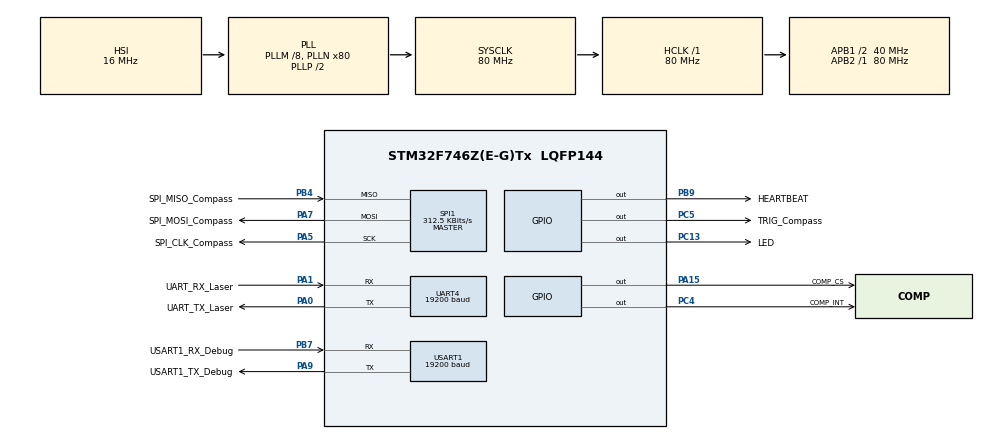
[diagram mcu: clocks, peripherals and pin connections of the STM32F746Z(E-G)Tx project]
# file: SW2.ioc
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FREERTOS.Tasks01=defaultTask,0,128,StartDefaultTask,Default
Mcu.Family=STM32F7
Mcu.Name=STM32F746Z(E-G)Tx
Mcu.Package=LQFP144
NVIC.PriorityGroup=NVIC_PRIORITYGROUP_4
NVIC.TIM1_UP_TIM10_IRQn=true\:0\:0\:false\:false\:true
NVIC.TimeBase=TIM1_UP_TIM10_IRQn
NVIC.TimeBaseIP=TIM1
PA0/WKUP.GPIO_Label=UART_TX_Laser
PA0/WKUP.Mode=Asynchronous
PA0/WKUP.Signal=UART4_TX
PA1.GPIO_Label=UART_RX_Laser
PA1.Mode=Asynchronous
PA1.Signal=UART4_RX
PA13.Mode=Trace-Asynchronous_SW
PA13.Signal=SYS_JTMS-SWDIO
PA14.Mode=Trace-Asynchronous_SW
PA14.Signal=SYS_JTCK-SWCLK
PA15.GPIO_Label=COMP_CS
PA15.Signal=GPIO_Output
PA5.GPIO_Label=SPI_CLK_Compass
PA5.Mode=Full_Duplex_Master
PA5.Signal=SPI1_SCK
PA7.GPIO_Label=SPI_MOSI_Compass
PA7.Mode=Full_Duplex_Master
PA7.Signal=SPI1_MOSI
PA9.GPIO_Label=USART1_TX_Debug
PA9.Mode=Asynchronous
PA9.Signal=USART1_TX
PB3.Mode=Trace-Asynchronous_SW
PB3.Signal=SYS_JTDO-SWO
PB4.GPIO_Label=SPI_MISO_Compass
PB4.Mode=Full_Duplex_Master
PB4.Signal=SPI1_MISO
PB7.GPIO_Label=USART1_RX_Debug
PB7.Mode=Asynchronous
PB7.Signal=USART1_RX
PB9.GPIO_Label=HEARTBEAT
PB9.Signal=GPIO_Output
PC13.GPIO_Label=LED
PC13.Signal=GPIO_Output
PC4.GPIO_Label=COMP_INT
PC4.Signal=GPIO_Output
PC5.GPIO_Label=TRIG_Compass
PC5.Signal=GPIO_Output
ProjectManager.HeapSize=0x200
ProjectManager.StackSize=0x400
ProjectManager.TargetToolchain=EWARM
RCC.AHBFreq_Value=80000000
RCC.APB1CLKDivider=RCC_HCLK_DIV2
RCC.APB1Freq_Value=40000000
RCC.APB1TimFreq_Value=80000000
RCC.APB2Freq_Value=80000000
RCC.APB2TimFreq_Value=80000000
RCC.CortexFreq_Value=80000000
RCC.HCLKFreq_Value=80000000
RCC.HSE_VALUE=25000000
RCC.HSI_VALUE=16000000
RCC.LSE_VALUE=32768
RCC.PLLM=8
RCC.PLLN=80
RCC.SYSCLKFreq_VALUE=80000000
RCC.SYSCLKSource=RCC_SYSCLKSOURCE_PLLCLK
RCC.USBFreq_Value=80000000
RCC.VCOOutputFreq_Value=160000000
SPI1.BaudRatePrescaler=SPI_BAUDRATEPRESCALER_256
SPI1.CLKPhase=SPI_PHASE_2EDGE
SPI1.CLKPolarity=SPI_POLARITY_HIGH
SPI1.CalculateBaudRate=312.5 KBits/s
SPI1.DataSize=SPI_DATASIZE_8BIT
SPI1.Mode=SPI_MODE_MASTER
UART4.BaudRate=19200
UART4.WordLength=UART_WORDLENGTH_8B
USART1.BaudRate=19200
USART1.WordLength=UART_WORDLENGTH_8B
VP_FREERTOS_VS_ENABLE.Mode=Enabled
VP_SYS_VS_tim1.Mode=TIM1
board=Pinout

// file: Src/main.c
/**
  ******************************************************************************
  * File Name          : main.c
  * Description        : Main program body
  ******************************************************************************
  *
  * COPYRIGHT(c) 2016 STMicroelectronics
  *
  * Redistribution and use in source and binary forms, with or without modification,
  * are permitted provided that the following conditions are met:
  *   1. Redistributions of source code must retain the above copyright notice,
  *      this list of conditions and the following disclaimer.
  *   2. Redistributions in binary form must reproduce the above copyright notice,
  *      this list of conditions and the following disclaimer in the documentation
  *      and/or other materials provided with the distribution.
  *   3. Neither the name of STMicroelectronics nor the names of its contributors
  *      may be used to endorse or promote products derived from this software
  *      without specific prior written permission.
  *
  * THIS SOFTWARE IS PROVIDED BY THE COPYRIGHT HOLDERS AND CONTRIBUTORS "AS IS"
  * AND ANY EXPRESS OR IMPLIED WARRANTIES, INCLUDING, BUT NOT LIMITED TO, THE
  * IMPLIED WARRANTIES OF MERCHANTABILITY AND FITNESS FOR A PARTICULAR PURPOSE ARE
  * DISCLAIMED. IN NO EVENT SHALL THE COPYRIGHT HOLDER OR CONTRIBUTORS BE LIABLE
  * FOR ANY DIRECT, INDIRECT, INCIDENTAL, SPECIAL, EXEMPLARY, OR CONSEQUENTIAL
  * DAMAGES (INCLUDING, BUT NOT LIMITED TO, PROCUREMENT OF SUBSTITUTE GOODS OR
  * SERVICES; LOSS OF USE, DATA, OR PROFITS; OR BUSINESS INTERRUPTION) HOWEVER
  * CAUSED AND ON ANY THEORY OF LIABILITY, WHETHER IN CONTRACT, STRICT LIABILITY,
  * OR TORT (INCLUDING NEGLIGENCE OR OTHERWISE) ARISING IN ANY WAY OUT OF THE USE
  * OF THIS SOFTWARE, EVEN IF ADVISED OF THE POSSIBILITY OF SUCH DAMAGE.
  *
  ******************************************************************************
  */
#include "stm32f7xx_hal.h"
#include "cmsis_os.h"

/* USER CODE BEGIN Includes */
#include <stdlib.h>
#include <math.h>
#include <string.h>
#include <stdint.h>

#define STATUS_DELAY	10000
#define VIBRATOR_GPIO_Port	LED_GPIO_Port
#define VIBRATOR_Pin		LED_Pin
/* USER CODE END Includes */

SPI_HandleTypeDef hspi1;

UART_HandleTypeDef huart4;
UART_HandleTypeDef huart1;

osThreadId defaultTaskHandle;

/* USER CODE BEGIN PV */
/* Private variables ---------------------------------------------------------*/
osThreadId laserTaskHandle;
osThreadId compassTaskHandle;
osThreadId vibratorTaskHandle;

volatile uint8_t vibrationLv;
uint8_t debugging;
/* USER CODE END PV */

void SystemClock_Config(void);
static void MX_GPIO_Init(void);
static void MX_SPI1_Init(void);
static void MX_UART4_Init(void);
static void MX_USART1_UART_Init(void);
void StartDefaultTask(void const * argument);

/* USER CODE BEGIN PFP */
/* Private function prototypes -----------------------------------------------*/
void StartLaserTask(void const * argument);
void StartCompassTask(void const * argument);
void StartVibratorTask(void const * argument);

void compass_takemeasurement(uint8_t * inbuf, uint8_t * outbuf);
/* USER CODE END PFP */

int main(void)
{

  /* MCU Configuration----------------------------------------------------------*/

  /* Reset of all peripherals, Initializes the Flash interface and the Systick. */
  HAL_Init();

  /* Configure the system clock */
  SystemClock_Config();

  /* Initialize all configured peripherals */
  MX_GPIO_Init();
  MX_SPI1_Init();
  MX_UART4_Init();
  MX_USART1_UART_Init();

  /* USER CODE BEGIN 2 */
  vibrationLv = 0;
  debugging = 1;
  HAL_GPIO_WritePin(HEARTBEAT_GPIO_Port, HEARTBEAT_Pin, GPIO_PIN_SET);
  /* USER CODE END 2 */

  /* Create the thread(s) */
  /* definition and creation of defaultTask */
  osThreadDef(defaultTask, StartDefaultTask, osPriorityNormal, 0, 128);
  defaultTaskHandle = osThreadCreate(osThread(defaultTask), NULL);

  /* USER CODE BEGIN RTOS_THREADS */
  /* add threads, ... */
  osThreadDef(laserTask, StartLaserTask, osPriorityNormal, 0, 128);
  laserTaskHandle = osThreadCreate(osThread(laserTask), NULL);

  //osThreadDef(compassTask, StartCompassTask, osPriorityBelowNormal, 0, 128);
  //compassTaskHandle = osThreadCreate(osThread(compassTask), NULL);

  osThreadDef(vibratorTask, StartVibratorTask, osPriorityNormal, 0, 64);
  vibratorTaskHandle = osThreadCreate(osThread(vibratorTask), NULL);
  /* USER CODE END RTOS_THREADS */

  /* Start scheduler */
  osKernelStart();

  /* We should never get here as control is now taken by the scheduler */

  /* Infinite loop */
  while (1)
  {

  }

}

/** System Clock Configuration
*/
void SystemClock_Config(void)
{

  RCC_OscInitTypeDef RCC_OscInitStruct;
  RCC_ClkInitTypeDef RCC_ClkInitStruct;
  RCC_PeriphCLKInitTypeDef PeriphClkInitStruct;

  __HAL_RCC_PWR_CLK_ENABLE();

  __HAL_PWR_VOLTAGESCALING_CONFIG(PWR_REGULATOR_VOLTAGE_SCALE3);

  RCC_OscInitStruct.OscillatorType = RCC_OSCILLATORTYPE_HSI;
  RCC_OscInitStruct.HSIState = RCC_HSI_ON;
  RCC_OscInitStruct.HSICalibrationValue = 16;
  RCC_OscInitStruct.PLL.PLLState = RCC_PLL_ON;
  RCC_OscInitStruct.PLL.PLLSource = RCC_PLLSOURCE_HSI;
  RCC_OscInitStruct.PLL.PLLM = 8;
  RCC_OscInitStruct.PLL.PLLN = 80;
  RCC_OscInitStruct.PLL.PLLP = RCC_PLLP_DIV2;
  RCC_OscInitStruct.PLL.PLLQ = 2;
  HAL_RCC_OscConfig(&RCC_OscInitStruct);

  RCC_ClkInitStruct.ClockType = RCC_CLOCKTYPE_HCLK|RCC_CLOCKTYPE_SYSCLK
                              |RCC_CLOCKTYPE_PCLK1|RCC_CLOCKTYPE_PCLK2;
  RCC_ClkInitStruct.SYSCLKSource = RCC_SYSCLKSOURCE_PLLCLK;
  RCC_ClkInitStruct.AHBCLKDivider = RCC_SYSCLK_DIV1;
  RCC_ClkInitStruct.APB1CLKDivider = RCC_HCLK_DIV2;
  RCC_ClkInitStruct.APB2CLKDivider = RCC_HCLK_DIV1;
  HAL_RCC_ClockConfig(&RCC_ClkInitStruct, FLASH_LATENCY_2);

  PeriphClkInitStruct.PeriphClockSelection = RCC_PERIPHCLK_USART1|RCC_PERIPHCLK_UART4;
  PeriphClkInitStruct.Usart1ClockSelection = RCC_USART1CLKSOURCE_PCLK2;
  PeriphClkInitStruct.Uart4ClockSelection = RCC_UART4CLKSOURCE_PCLK1;
  HAL_RCCEx_PeriphCLKConfig(&PeriphClkInitStruct);

  HAL_SYSTICK_Config(HAL_RCC_GetHCLKFreq()/1000);

  HAL_SYSTICK_CLKSourceConfig(SYSTICK_CLKSOURCE_HCLK);

  /* SysTick_IRQn interrupt configuration */
  HAL_NVIC_SetPriority(SysTick_IRQn, 15, 0);
}

/* SPI1 init function */
void MX_SPI1_Init(void)
{

  hspi1.Instance = SPI1;
  hspi1.Init.Mode = SPI_MODE_MASTER;
  hspi1.Init.Direction = SPI_DIRECTION_2LINES;
  hspi1.Init.DataSize = SPI_DATASIZE_8BIT;
  hspi1.Init.CLKPolarity = SPI_POLARITY_HIGH;
  hspi1.Init.CLKPhase = SPI_PHASE_2EDGE;
  hspi1.Init.NSS = SPI_NSS_SOFT;
  hspi1.Init.BaudRatePrescaler = SPI_BAUDRATEPRESCALER_256;
  hspi1.Init.FirstBit = SPI_FIRSTBIT_MSB;
  hspi1.Init.TIMode = SPI_TIMODE_DISABLE;
  hspi1.Init.CRCCalculation = SPI_CRCCALCULATION_DISABLE;
  hspi1.Init.CRCPolynomial = 7;
  hspi1.Init.CRCLength = SPI_CRC_LENGTH_DATASIZE;
  hspi1.Init.NSSPMode = SPI_NSS_PULSE_DISABLE;
  HAL_SPI_Init(&hspi1);

}

/* UART4 init function */
void MX_UART4_Init(void)
{

  huart4.Instance = UART4;
  huart4.Init.BaudRate = 19200;
  huart4.Init.WordLength = UART_WORDLENGTH_8B;
  huart4.Init.StopBits = UART_STOPBITS_1;
  huart4.Init.Parity = UART_PARITY_NONE;
  huart4.Init.Mode = UART_MODE_TX_RX;
  huart4.Init.HwFlowCtl = UART_HWCONTROL_NONE;
  huart4.Init.OverSampling = UART_OVERSAMPLING_16;
  huart4.Init.OneBitSampling = UART_ONE_BIT_SAMPLE_DISABLE;
  huart4.AdvancedInit.AdvFeatureInit = UART_ADVFEATURE_NO_INIT;
  HAL_UART_Init(&huart4);

}

/* USART1 init function */
void MX_USART1_UART_Init(void)
{

  huart1.Instance = USART1;
  huart1.Init.BaudRate = 19200;
  huart1.Init.WordLength = UART_WORDLENGTH_8B;
  huart1.Init.StopBits = UART_STOPBITS_1;
  huart1.Init.Parity = UART_PARITY_NONE;
  huart1.Init.Mode = UART_MODE_TX_RX;
  huart1.Init.HwFlowCtl = UART_HWCONTROL_NONE;
  huart1.Init.OverSampling = UART_OVERSAMPLING_16;
  huart1.Init.OneBitSampling = UART_ONE_BIT_SAMPLE_DISABLE;
  huart1.AdvancedInit.AdvFeatureInit = UART_ADVFEATURE_NO_INIT;
  HAL_UART_Init(&huart1);

}

/** Configure pins as
        * Analog
        * Input
        * Output
        * EVENT_OUT
        * EXTI
*/
void MX_GPIO_Init(void)
{

  GPIO_InitTypeDef GPIO_InitStruct;

  /* GPIO Ports Clock Enable */
  __HAL_RCC_GPIOC_CLK_ENABLE();
  __HAL_RCC_GPIOA_CLK_ENABLE();
  __HAL_RCC_GPIOB_CLK_ENABLE();

  /*Configure GPIO pin Output Level */
  HAL_GPIO_WritePin(GPIOC, LED_Pin|COMP_INT_Pin|TRIG_Compass_Pin, GPIO_PIN_RESET);

  /*Configure GPIO pin Output Level */
  HAL_GPIO_WritePin(COMP_CS_GPIO_Port, COMP_CS_Pin, GPIO_PIN_RESET);

  /*Configure GPIO pin Output Level */
  HAL_GPIO_WritePin(HEARTBEAT_GPIO_Port, HEARTBEAT_Pin, GPIO_PIN_RESET);

  /*Configure GPIO pins : LED_Pin COMP_INT_Pin TRIG_Compass_Pin */
  GPIO_InitStruct.Pin = LED_Pin|COMP_INT_Pin|TRIG_Compass_Pin;
  GPIO_InitStruct.Mode = GPIO_MODE_OUTPUT_PP;
  GPIO_InitStruct.Pull = GPIO_NOPULL;
  GPIO_InitStruct.Speed = GPIO_SPEED_FREQ_LOW;
  HAL_GPIO_Init(GPIOC, &GPIO_InitStruct);

  /*Configure GPIO pin : COMP_CS_Pin */
  GPIO_InitStruct.Pin = COMP_CS_Pin;
  GPIO_InitStruct.Mode = GPIO_MODE_OUTPUT_PP;
  GPIO_InitStruct.Pull = GPIO_NOPULL;
  GPIO_InitStruct.Speed = GPIO_SPEED_FREQ_LOW;
  HAL_GPIO_Init(COMP_CS_GPIO_Port, &GPIO_InitStruct);

  /*Configure GPIO pin : HEARTBEAT_Pin */
  GPIO_InitStruct.Pin = HEARTBEAT_Pin;
  GPIO_InitStruct.Mode = GPIO_MODE_OUTPUT_PP;
  GPIO_InitStruct.Pull = GPIO_NOPULL;
  GPIO_InitStruct.Speed = GPIO_SPEED_FREQ_LOW;
  HAL_GPIO_Init(HEARTBEAT_GPIO_Port, &GPIO_InitStruct);

}

/* USER CODE BEGIN 4 */

// Functions
// Useful debugging info
void compass_dbg_uartout(uint8_t * inBuf, uint8_t * outBuf, uint8_t * msg)
{
  if(outBuf[0] == 62)	// SSMM
  {
    msg = "SMM:\t";
    HAL_UART_Transmit(&huart1, (uint8_t*)msg, strlen(msg), 0xFFFF);
  }
  else if(outBuf[0] == 78)	// RM
  {
    msg = "RM:\t";
    HAL_UART_Transmit(&huart1, (uint8_t*)msg, strlen(msg), 0xFFFF);
  }
  else if(outBuf[0] == 240)	// RST
  {
    msg = "RST:\t";
    HAL_UART_Transmit(&huart1, (uint8_t*)msg, strlen(msg), 0xFFFF);
  }
  else if(outBuf[0] == 80)	// RR
  {
    msg = "RR:\t";
    HAL_UART_Transmit(&huart1, (uint8_t*)msg, strlen(msg), 0xFFFF);
  }
  if(inBuf[0] & 128)	msg = "BM\t";
  else				msg = "  \t";
  HAL_UART_Transmit(&huart1, (uint8_t*)msg, strlen(msg), 0xFFFF);
  if(inBuf[0] & 64)	msg = "WC\t";
  else				msg = "  \t";
  HAL_UART_Transmit(&huart1, (uint8_t*)msg, strlen(msg), 0xFFFF);
  if(inBuf[0] & 32)	msg = "SM\t";
  else				msg = "  \t";
  HAL_UART_Transmit(&huart1, (uint8_t*)msg, strlen(msg), 0xFFFF);
  if(inBuf[0] & 16)	msg = "ER\t";
  else				msg = "  \t";
  HAL_UART_Transmit(&huart1, (uint8_t*)msg, strlen(msg), 0xFFFF);
  if(inBuf[0] & 8)	msg = "SD\t";
  else				msg = "  \t";
  HAL_UART_Transmit(&huart1, (uint8_t*)msg, strlen(msg), 0xFFFF);
  if(inBuf[0] & 4)	msg = "RS\t";
  else				msg = "  \t";
  HAL_UART_Transmit(&huart1, (uint8_t*)msg, strlen(msg), 0xFFFF);
  if(inBuf[0] & 2)	msg = "D1\t";
  else				msg = "  \t";
  HAL_UART_Transmit(&huart1, (uint8_t*)msg, strlen(msg), 0xFFFF);
  if(inBuf[0] & 1)	msg = "D0\t";
  else				msg = "  \t";
  HAL_UART_Transmit(&huart1, (uint8_t*)msg, strlen(msg), 0xFFFF);
  if(HAL_GPIO_ReadPin(COMP_INT_GPIO_Port, COMP_INT_Pin))
  {
    msg = "RDY\t";
    HAL_UART_Transmit(&huart1, (uint8_t*)msg, strlen(msg), 0xFFFF);
  }
  msg = "\n\n\r";
  HAL_UART_Transmit(&huart1, (uint8_t*)msg, strlen(msg), 0xFFFF);
}

// I/O
void compass_send_SPI(uint8_t * inBuf, uint8_t inLength, uint8_t * outBuf, uint8_t outLength)
{
  HAL_GPIO_WritePin(COMP_CS_GPIO_Port, COMP_CS_Pin, GPIO_PIN_RESET);
  HAL_SPI_Transmit(&hspi1, outBuf, outLength, 1000);
  HAL_SPI_Receive(&hspi1, inBuf, inLength, 1000);
  HAL_GPIO_WritePin(COMP_CS_GPIO_Port, COMP_CS_Pin, GPIO_PIN_SET);
}

// Print results as integers
void compass_uart(int16_t * xyz, uint8_t * msg, int16_t * angle)
{
  sprintf(msg, "x: %5d\t", xyz[0]);
  if(HAL_UART_Transmit(&huart1, (uint8_t*)msg, strlen(msg), 0x1000) != HAL_OK)
    return;
  sprintf(msg, "y: %5d\t", xyz[1]);
  HAL_UART_Transmit(&huart1, (uint8_t*)msg, strlen(msg), 0xFFFF);
  sprintf(msg, "z: %5d\t", xyz[2]);
  HAL_UART_Transmit(&huart1, (uint8_t*)msg, strlen(msg), 0xFFFF);
  sprintf(msg, "a: %d\t", *angle);
  HAL_UART_Transmit(&huart1, (uint8_t*)msg, strlen(msg), 0xFFFF);
  msg = "\n\r";
  HAL_UART_Transmit(&huart1, (uint8_t*)msg, strlen(msg), 0xFFFF);
}

// Convert raw input bits to integers
void compass_processInput(uint8_t * inbuf, int16_t * xyz, int16_t * minmaxxyz)
{
  // FL is off by 2 degrees W: Don't care.
  for(uint8_t i=0; i<3; i++)
  {
    // 2's complement binaries to int16_t
    xyz[i] = ((int16_t)inbuf[i*2+1] << 8 | inbuf[i*2+2]);
    // (optional) use GAIN_SEL to find "real" value
    xyz[i] *= i==2?.294:.161;
    // Update minmaxxyz
    if(xyz[i] < minmaxxyz[2*i])	minmaxxyz[2*i] = xyz[i];
    if(xyz[i] > minmaxxyz[2*i+1])	minmaxxyz[2*i+1] = xyz[i];
    // Normalize results
    xyz[i] -= (minmaxxyz[2*i+1]+minmaxxyz[2*i])/2;
  }
}

/*
* Calibration: Do a bunch of measurements
*
* Measurements/normalization: Save min and max. Med = 0
*/

void compass_calibrate(uint8_t * inbuf, uint8_t * outbuf, int16_t * xyz, int16_t * minmaxxyz)
{
  compass_takemeasurement(inbuf, outbuf);
  for(uint8_t i=0; i<3; i++)
  {
    // 2's complement binaries to int16_t
    xyz[i] = ((int16_t)inbuf[i*2+1] << 8 | inbuf[i*2+2]);
    // (optional) use GAIN_SEL to find "real" value
    xyz[i] *= i==2?.294:.161;
    // Update minmaxxyz
    minmaxxyz[2*i] = xyz[i];
    minmaxxyz[2*1+1] = xyz[i];
  }
  for(uint16_t i=0; i<100; i++)	// TODO replace this with pushbutton
  {
    compass_takemeasurement(inbuf, outbuf);
    compass_processInput(inbuf, xyz, minmaxxyz);
    osDelay(100);
  }
}

void compass_takemeasurement(uint8_t * inbuf, uint8_t * outbuf)
{
  // Start single measurement mode
  outbuf[0] = 62;	// 0011zyxt
  compass_send_SPI(inbuf, 1, outbuf, 1);
  //compass_dbg_uartout(inbuf, outbuf, msg);

  while(!HAL_GPIO_ReadPin(COMP_INT_GPIO_Port, COMP_INT_Pin));

  //Read measurement
  outbuf[0] = 78;
  compass_send_SPI(inbuf, 7, outbuf, 1);
  //compass_dbg_uartout(inbuf, outbuf, msg);
}

void compass_getAngle(int16_t * angle, int16_t * xyz)
{
  volatile double tmp = atan((double)xyz[0]/(double)xyz[1]);
  tmp *= (180/3.1428);
  tmp = 90 - tmp;
  if(xyz[1] > 0)	*angle = (int16_t)(90.0 - (atan((double)xyz[0]/(double)xyz[1]) * (180.0 / 3.1428)));
  else if(xyz[1] < 0)	*angle = (int16_t)(270.0 - (atan((double)xyz[0]/(double)xyz[1]) * (180.0 / 3.1428)));
  else if(xyz[0]<0)	*angle = 180;
  else	*angle = 0;
}

void compass_vibrateAngle(int16_t * angle)
{
  uint8_t clockangle = *angle/30;
  uint8_t i;
  for(;clockangle > 0; clockangle--)
  {
    for(i=255; i>0; i--)
    {
      HAL_GPIO_WritePin(VIBRATOR_GPIO_Port, VIBRATOR_Pin, GPIO_PIN_SET);
      HAL_GPIO_WritePin(VIBRATOR_GPIO_Port, VIBRATOR_Pin, GPIO_PIN_SET);
      HAL_GPIO_WritePin(VIBRATOR_GPIO_Port, VIBRATOR_Pin, GPIO_PIN_SET);
      HAL_GPIO_WritePin(VIBRATOR_GPIO_Port, VIBRATOR_Pin, GPIO_PIN_SET);
      HAL_GPIO_WritePin(VIBRATOR_GPIO_Port, VIBRATOR_Pin, GPIO_PIN_RESET);
      HAL_GPIO_WritePin(VIBRATOR_GPIO_Port, VIBRATOR_Pin, GPIO_PIN_SET);
      HAL_GPIO_WritePin(VIBRATOR_GPIO_Port, VIBRATOR_Pin, GPIO_PIN_SET);
      HAL_GPIO_WritePin(VIBRATOR_GPIO_Port, VIBRATOR_Pin, GPIO_PIN_SET);
      HAL_GPIO_WritePin(VIBRATOR_GPIO_Port, VIBRATOR_Pin, GPIO_PIN_SET);
      HAL_GPIO_WritePin(VIBRATOR_GPIO_Port, VIBRATOR_Pin, GPIO_PIN_RESET);
    }
    osDelay(250);
  }
}

uint32_t getDelay()
{
  if(vibrationLv == 9)	return 50;
  else if(vibrationLv == 8)	return 100;
  else if(vibrationLv == 7)	return 250;
  else if(vibrationLv == 6)	return 1000;
  else if(vibrationLv == 5)	return 1500;
  else if(vibrationLv == 4)	return 2000;
  else if(vibrationLv == 3)	return 2500;
  else if(vibrationLv == 2)	return 3000;
  else	return 3500;
}

// Threads

void StartVibratorTask(void const * argument)
{
  uint8_t i,j;
  osThreadSuspend(vibratorTaskHandle);
  // 3V motor, 3.3V max source. 91% max DC
  for(;;)
  {
    if(!vibrationLv)
    {
      HAL_GPIO_WritePin(VIBRATOR_GPIO_Port, VIBRATOR_Pin, GPIO_PIN_RESET);
      continue;
    }
    HAL_GPIO_WritePin(VIBRATOR_GPIO_Port, VIBRATOR_Pin, GPIO_PIN_SET);
    osDelay(getDelay());
    HAL_GPIO_WritePin(VIBRATOR_GPIO_Port, VIBRATOR_Pin, GPIO_PIN_RESET);
    osDelay(getDelay());
  }
}

void StartFSTask(void const * argument)
{
  for(;;)
  {
  }
}

void StartCompassTask(void const * argument)
{
  osThreadSuspend(compassTaskHandle);

  osThreadSuspend(defaultTaskHandle);
  HAL_GPIO_WritePin(GPIOB, GPIO_PIN_8, GPIO_PIN_SET);
  uint8_t inbuf[7];
  uint8_t outbuf[2];
  int16_t xyz[3];
  int16_t minmaxxyz[6];	// xmin xmax ymin ymax zmin zmax
  int16_t angle;
  uint8_t * msg = malloc(10);

  // Reset: 11110000 = 0xf0
  outbuf[0] = 0xf0;
  compass_send_SPI(inbuf, 1, outbuf, 1);
  compass_dbg_uartout(inbuf, outbuf, msg);

  compass_calibrate(inbuf, outbuf, xyz, minmaxxyz);

  /*
  // Read register 0
  outbuf[0] = 80;
  outbuf[1] = 0 << 2;
  compass_send_SPI(inbuf, 3, outbuf, 2);
  compass_dbg_uartout(inbuf, outbuf, msg);
  */

  HAL_GPIO_WritePin(GPIOB, GPIO_PIN_8, GPIO_PIN_RESET);
  osThreadResume(defaultTaskHandle);
  osThreadResume(laserTaskHandle);
  osThreadSuspend(compassTaskHandle);

  /* Infinite loop */
  for(;;)
  {
    compass_takemeasurement(inbuf, outbuf);
    compass_processInput(inbuf, xyz, minmaxxyz);
    compass_getAngle(&angle, xyz);
    if(debugging)	compass_uart(xyz, msg, &angle);
    HAL_GPIO_WritePin(GPIOB, GPIO_PIN_8, GPIO_PIN_RESET);
    osThreadResume(laserTaskHandle);
    osThreadSuspend(compassTaskHandle);
  }
}

void StartLaserTask(void const * argument)
{
  osDelay(50);
  uint8_t in[6];
  in[0] = '0';
  uint8_t * nl = "\n\r";
  uint8_t tabs[10];
  uint8_t inSize;
  HAL_StatusTypeDef status;
  double distance = 0; //(debug) was volatile
  sprintf(tabs, "\t\t\t\t\t\t\td: ");
  for(;;)
  {
    osThreadSuspend(vibratorTaskHandle);
    HAL_GPIO_WritePin(VIBRATOR_GPIO_Port, VIBRATOR_Pin, GPIO_PIN_RESET);
    if(HAL_UART_Transmit(&huart4, &in[0], 1, 1000) == HAL_OK)// send request
    {
      // Receive
      for (inSize = 0; inSize < 7; inSize++)	// max = 25.00\n\r
      {
	status = HAL_UART_Receive(&huart4, &in[inSize], 1, 0x1000);
	if(in[inSize] == '\n')	break;
	if(status == HAL_TIMEOUT)       break;
      }
      if(status == HAL_TIMEOUT)
      {
	HAL_GPIO_WritePin(VIBRATOR_GPIO_Port, VIBRATOR_Pin, GPIO_PIN_RESET);
	osDelay(1000);
	continue;
      }
      // Send result to PC (opt)
	HAL_UART_Transmit(&huart1, (uint8_t *)tabs, 10, 0x100);
	HAL_UART_Transmit(&huart1, (uint8_t *)in, inSize-1, 0x100);
	HAL_UART_Transmit(&huart1, (uint8_t *)nl, 3, 0x100);
      //strToUART(nl);	// makes debugging prettier

      distance = atof(in);
    }
    // Process result

    //vibrationLv = - log(distance/30) / log(2);
    // The above function does not process correctly. Doing it by hand:
    if(distance <= .25)	vibrationLv = 9;
    else if(distance <= .5)	vibrationLv = 8;
    else if(distance <= 1)	vibrationLv = 7;
    else if(distance <= 2)	vibrationLv = 6;
    else if(distance <= 3)	vibrationLv = 5;
    else if(distance <= 4)	vibrationLv = 4;
    else if(distance <= 5)	vibrationLv = 3;
    else if(distance <= 10)	vibrationLv = 2;
    else if(distance <= 20)	vibrationLv = 1;
    else			vibrationLv = 0;
    /*
    if(distance >= 0.666 * 9)  vibrationLv = 0;
    else        vibrationLv = 10 - (distance / 0.666);
    if(vibrationLv == 10)	vibrationLv = 9;
    */
    //if(distance < 0.3048)			laserOut_1ft();
    //else if(distance < 0.6096)	laserOut_2ft();
    //else if(distance < 0.9144)	laserOut_3ft();
    //else							laserOut_safe();
    // delay before checking again to save precious battery life
    //osDelay(150);
    osThreadResume(vibratorTaskHandle);
    osDelay(300);
  }
}
/* USER CODE END 4 */

/* StartDefaultTask function */
void StartDefaultTask(void const * argument)
{

  /* USER CODE BEGIN 5 */
  /* Infinite loop */
  for(;;)
  {
    osDelay(STATUS_DELAY);
    HAL_GPIO_WritePin(HEARTBEAT_GPIO_Port, HEARTBEAT_Pin, GPIO_PIN_RESET);
    osDelay(200);
    HAL_GPIO_WritePin(HEARTBEAT_GPIO_Port, HEARTBEAT_Pin, GPIO_PIN_SET);
  }
  /* USER CODE END 5 */
}

/************************ (C) COPYRIGHT STMicroelectronics *****END OF FILE****/
